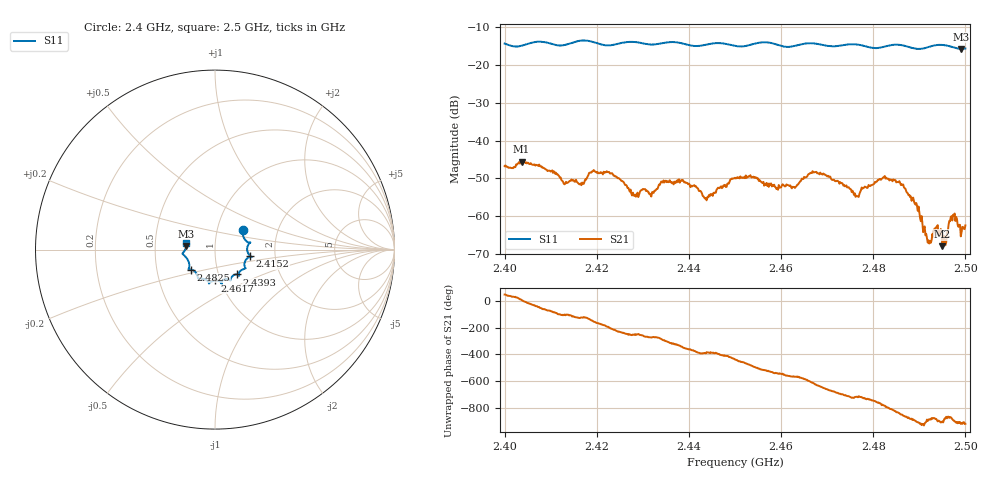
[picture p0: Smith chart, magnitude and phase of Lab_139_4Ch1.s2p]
# Hz S RI R 50
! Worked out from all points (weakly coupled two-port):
!   601 points, 2.4 GHz to 2.5 GHz, reference 50 ohm
!   highest |S21| = -45.60 dB at 2.4037 GHz (marker M1); lowest = -67.9 dB at 2.495 GHz (marker M2)
!   lowest |S11| = -15.8 dB at 2.499 GHz (marker M3), VSWR 1.38, Z = 36.2 + j1.31 ohm
!   |S11| at or under -10 dB: start of sweep to end of sweep
!   S12 and S22 are empty: the file has one direction only
!   S11 on the Smith chart (normalised r, x): 2.4 GHz: 1.33, +0.30; 2.4152 GHz: 1.48, -0.11; 2.4393 GHz: 1.23, -0.35; 2.4617 GHz: 0.94, -0.33; 2.4825 GHz: 0.75, -0.17; 2.5 GHz: 0.72, +0.05
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2.4e9  0.1552 0.1091  0.00292 0.00356  0 0  0 0
2.403667e9  0.1697 0.0527  0.00517 0.000873  0 0  0 0
2.415167e9  0.1959 -0.0363  -0.00136 -0.00252  0 0  0 0
2.416667e9  0.204 -0.0418  -0.00135 -0.0022  0 0  0 0
2.419333e9  0.194 -0.041  -0.00365 -0.00184  0 0  0 0
2.428167e9  0.1698 -0.1045  -0.000552 0.00178  0 0  0 0
2.433333e9  0.1327 -0.1332  0.000176 0.00243  0 0  0 0
2.439333e9  0.1236 -0.1383  0.00277 0.000224  0 0  0 0
2.443667e9  0.0877 -0.1613  0.00149 -0.000918  0 0  0 0
2.45e9  0.0666 -0.1642  0.000665 -0.00316  0 0  0 0
2.461667e9  0.0012 -0.1717  -0.00238 0.000954  0 0  0 0
2.466667e9  -0.0335 -0.189  -0.00114 0.00354  0 0  0 0
2.476333e9  -0.0942 -0.1592  0.00187 3.56e-05  0 0  0 0
2.4825e9  -0.1326 -0.1113  0.00138 -0.00311  0 0  0 0
2.483333e9  -0.1399 -0.1106  0.000398 -0.00311  0 0  0 0
2.489e9  -0.144 -0.077  -0.00148 -6.06e-05  0 0  0 0
2.492167e9  -0.1689 -0.0346  -0.000428 -9.63e-05  0 0  0 0
2.4935e9  -0.1788 -0.0257  -0.000657 -0.000159  0 0  0 0
2.495e9  -0.1812 -0.021  -0.000403 3.2e-05  0 0  0 0
2.497167e9  -0.1705 -0.00801  -0.000868 -0.000166  0 0  0 0
2.499e9  -0.1604 0.0177  -0.000504 0.000209  0 0  0 0
2.5e9  -0.1596 0.0354  -0.000706 0.000284  0 0  0 0
